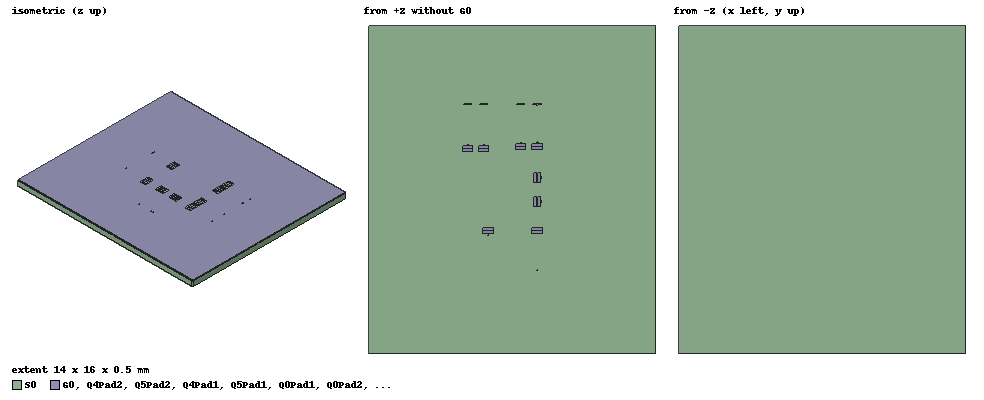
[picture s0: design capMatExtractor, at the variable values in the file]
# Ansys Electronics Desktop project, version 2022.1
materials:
  vacuum: permittivity=1
  copper: permeability=0.999991 conductivity=58000000
  silicon: permittivity=11.9
  perfect conductor: conductivity=1e+30

design capMatExtractor (Q3D Extractor, model units mm)
options: SParamCalcMethod=EqTransLine Calculate_Lossy_Dielectrics
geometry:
  S0 [silicon] = polyline(z=0um, xy in um: (-7000, -8000) (-7000, 8000) (7000, 8000) (7000, -8000) (-7000, -8000), closed, covered)
  S0.sweep_along_vector((0mm, 0mm, 500um))
  G0 [perfect conductor] = polyline(z=500um, xy in um: (-7000, -8000) (-7000, 8000) (7000, 8000) (7000, -8000) (-7000, -8000), closed, covered)
  Q0Pad1 [perfect conductor] = polyline(z=500um, xy in um: (-2450, 2015) (-2450, 2155) (-1950, 2155) (-1950, 2015) (-2198, 2015) (-2198, 2004) (-2202, 2004) (-2202, 2015) (-2450, 2015), closed, covered)
  Q0Pad1TrenchComponent = polyline(z=499.9um, xy in um: (-2450, 2015) (-2450, 2155) (-1950, 2155) (-1950, 2015) (-2198, 2015) (-2198, 2004) (-2202, 2004) (-2202, 2015) (-2450, 2015), closed, covered)
  Q0Pad1TrenchPeriphery0 = polyline(z=499.9um, xy in um: (-2550, 1915) (-2550, 2255) (-1850, 2255) (-1850, 1915) (-2550, 1915), closed, covered)
  Q0Pad1TrenchPeriphery1 = polyline(z=499.9um, xy in um: (-2202, 2004) (-2202, 2015) (-2198, 2015) (-2198, 2004) (-2202, 2004), closed, covered)
  Q0Pad1TrenchPeriphery0.sweep_along_vector((0mm, 0mm, 0.1um))
  S0.subtract(Q0Pad1TrenchPeriphery0)
  Q0Pad1TrenchPeriphery1.sweep_along_vector((0mm, 0mm, 0.1um))
  S0.subtract(Q0Pad1TrenchPeriphery1)
  Q0Pad1periphery0 = polyline(z=500um, xy in um: (-2550, 1915) (-2550, 2255) (-1850, 2255) (-1850, 1915) (-2550, 1915), closed, covered)
  G0.subtract(Q0Pad1periphery0)
  Q0Pad1periphery1 = polyline(z=500um, xy in um: (-2202, 2004) (-2202, 2015) (-2198, 2015) (-2198, 2004) (-2202, 2004), closed, covered)
  G0.subtract(Q0Pad1periphery1)
  Q0Pad2 [perfect conductor] = polyline(z=500um, xy in um: (-1950, 1985) (-1950, 1845) (-2450, 1845) (-2450, 1985) (-2202, 1985) (-2202, 1996) (-2198, 1996) (-2198, 1985) (-1950, 1985), closed, covered)
  Q0Pad2TrenchComponent = polyline(z=499.9um, xy in um: (-1950, 1985) (-1950, 1845) (-2450, 1845) (-2450, 1985) (-2202, 1985) (-2202, 1996) (-2198, 1996) (-2198, 1985) (-1950, 1985), closed, covered)
  Q0Pad2TrenchPeriphery0 = polyline(z=499.9um, xy in um: (-1850, 2085) (-1850, 1745) (-2550, 1745) (-2550, 2085) (-1850, 2085), closed, covered)
  Q0Pad2TrenchPeriphery1 = polyline(z=499.9um, xy in um: (-2198, 1996) (-2198, 1985) (-2202, 1985) (-2202, 1996) (-2198, 1996), closed, covered)
  Q0Pad2TrenchPeriphery0.sweep_along_vector((0mm, 0mm, 0.1um))
  S0.subtract(Q0Pad2TrenchPeriphery0)
  Q0Pad2TrenchPeriphery1.sweep_along_vector((0mm, 0mm, 0.1um))
  S0.subtract(Q0Pad2TrenchPeriphery1)
  Q0Pad2periphery0 = polyline(z=500um, xy in um: (-1850, 2085) (-1850, 1745) (-2550, 1745) (-2550, 2085) (-1850, 2085), closed, covered)
  G0.subtract(Q0Pad2periphery0)
  Q0Pad2periphery1 = polyline(z=500um, xy in um: (-2198, 1996) (-2198, 1985) (-2202, 1985) (-2202, 1996) (-2198, 1996), closed, covered)
  G0.subtract(Q0Pad2periphery1)
  Q1Pad1 [perfect conductor] = polyline(z=500um, xy in um: (-1650, 2015) (-1650, 2155) (-1150, 2155) (-1150, 2015) (-1398, 2015) (-1398, 2004) (-1402, 2004) (-1402, 2015) (-1650, 2015), closed, covered)
  Q1Pad1TrenchComponent = polyline(z=499.9um, xy in um: (-1650, 2015) (-1650, 2155) (-1150, 2155) (-1150, 2015) (-1398, 2015) (-1398, 2004) (-1402, 2004) (-1402, 2015) (-1650, 2015), closed, covered)
  Q1Pad1TrenchPeriphery0 = polyline(z=499.9um, xy in um: (-1750, 1915) (-1750, 2255) (-1050, 2255) (-1050, 1915) (-1750, 1915), closed, covered)
  Q1Pad1TrenchPeriphery1 = polyline(z=499.9um, xy in um: (-1402, 2004) (-1402, 2015) (-1398, 2015) (-1398, 2004) (-1402, 2004), closed, covered)
  Q1Pad1TrenchPeriphery0.sweep_along_vector((0mm, 0mm, 0.1um))
  S0.subtract(Q1Pad1TrenchPeriphery0)
  Q1Pad1TrenchPeriphery1.sweep_along_vector((0mm, 0mm, 0.1um))
  S0.subtract(Q1Pad1TrenchPeriphery1)
  Q1Pad1periphery0 = polyline(z=500um, xy in um: (-1750, 1915) (-1750, 2255) (-1050, 2255) (-1050, 1915) (-1750, 1915), closed, covered)
  G0.subtract(Q1Pad1periphery0)
  Q1Pad1periphery1 = polyline(z=500um, xy in um: (-1402, 2004) (-1402, 2015) (-1398, 2015) (-1398, 2004) (-1402, 2004), closed, covered)
  G0.subtract(Q1Pad1periphery1)
  Q1Pad2 [perfect conductor] = polyline(z=500um, xy in um: (-1150, 1985) (-1150, 1845) (-1650, 1845) (-1650, 1985) (-1402, 1985) (-1402, 1996) (-1398, 1996) (-1398, 1985) (-1150, 1985), closed, covered)
  Q1Pad2TrenchComponent = polyline(z=499.9um, xy in um: (-1150, 1985) (-1150, 1845) (-1650, 1845) (-1650, 1985) (-1402, 1985) (-1402, 1996) (-1398, 1996) (-1398, 1985) (-1150, 1985), closed, covered)
  Q1Pad2TrenchPeriphery0 = polyline(z=499.9um, xy in um: (-1050, 2085) (-1050, 1745) (-1750, 1745) (-1750, 2085) (-1050, 2085), closed, covered)
  Q1Pad2TrenchPeriphery1 = polyline(z=499.9um, xy in um: (-1398, 1996) (-1398, 1985) (-1402, 1985) (-1402, 1996) (-1398, 1996), closed, covered)
  Q1Pad2TrenchPeriphery0.sweep_along_vector((0mm, 0mm, 0.1um))
  S0.subtract(Q1Pad2TrenchPeriphery0)
  Q1Pad2TrenchPeriphery1.sweep_along_vector((0mm, 0mm, 0.1um))
  S0.subtract(Q1Pad2TrenchPeriphery1)
  Q1Pad2periphery0 = polyline(z=500um, xy in um: (-1050, 2085) (-1050, 1745) (-1750, 1745) (-1750, 2085) (-1050, 2085), closed, covered)
  G0.subtract(Q1Pad2periphery0)
  Q1Pad2periphery1 = polyline(z=500um, xy in um: (-1398, 1996) (-1398, 1985) (-1402, 1985) (-1402, 1996) (-1398, 1996), closed, covered)
  G0.subtract(Q1Pad2periphery1)
  Q2Pad1 [perfect conductor] = polyline(z=500um, xy in um: (150, 2115) (150, 2255) (650, 2255) (650, 2115) (402, 2115) (402, 2104) (398, 2104) (398, 2115) (150, 2115), closed, covered)
  Q2Pad1TrenchComponent = polyline(z=499.9um, xy in um: (150, 2115) (150, 2255) (650, 2255) (650, 2115) (402, 2115) (402, 2104) (398, 2104) (398, 2115) (150, 2115), closed, covered)
  Q2Pad1TrenchPeriphery0 = polyline(z=499.9um, xy in um: (50, 2015) (50, 2355) (750, 2355) (750, 2015) (50, 2015), closed, covered)
  Q2Pad1TrenchPeriphery1 = polyline(z=499.9um, xy in um: (398, 2104) (398, 2115) (402, 2115) (402, 2104) (398, 2104), closed, covered)
  Q2Pad1TrenchPeriphery0.sweep_along_vector((0mm, 0mm, 0.1um))
  S0.subtract(Q2Pad1TrenchPeriphery0)
  Q2Pad1TrenchPeriphery1.sweep_along_vector((0mm, 0mm, 0.1um))
  S0.subtract(Q2Pad1TrenchPeriphery1)
  Q2Pad1periphery0 = polyline(z=500um, xy in um: (50, 2015) (50, 2355) (750, 2355) (750, 2015) (50, 2015), closed, covered)
  G0.subtract(Q2Pad1periphery0)
  Q2Pad1periphery1 = polyline(z=500um, xy in um: (398, 2104) (398, 2115) (402, 2115) (402, 2104) (398, 2104), closed, covered)
  G0.subtract(Q2Pad1periphery1)
  Q2Pad2 [perfect conductor] = polyline(z=500um, xy in um: (650, 2085) (650, 1945) (150, 1945) (150, 2085) (398, 2085) (398, 2096) (402, 2096) (402, 2085) (650, 2085), closed, covered)
  Q2Pad2TrenchComponent = polyline(z=499.9um, xy in um: (650, 2085) (650, 1945) (150, 1945) (150, 2085) (398, 2085) (398, 2096) (402, 2096) (402, 2085) (650, 2085), closed, covered)
  Q2Pad2TrenchPeriphery0 = polyline(z=499.9um, xy in um: (750, 2185) (750, 1845) (50, 1845) (50, 2185) (750, 2185), closed, covered)
  Q2Pad2TrenchPeriphery1 = polyline(z=499.9um, xy in um: (402, 2096) (402, 2085) (398, 2085) (398, 2096) (402, 2096), closed, covered)
  Q2Pad2TrenchPeriphery0.sweep_along_vector((0mm, 0mm, 0.1um))
  S0.subtract(Q2Pad2TrenchPeriphery0)
  Q2Pad2TrenchPeriphery1.sweep_along_vector((0mm, 0mm, 0.1um))
  S0.subtract(Q2Pad2TrenchPeriphery1)
  Q2Pad2periphery0 = polyline(z=500um, xy in um: (750, 2185) (750, 1845) (50, 1845) (50, 2185) (750, 2185), closed, covered)
  G0.subtract(Q2Pad2periphery0)
  Q2Pad2periphery1 = polyline(z=500um, xy in um: (402, 2096) (402, 2085) (398, 2085) (398, 2096) (402, 2096), closed, covered)
  G0.subtract(Q2Pad2periphery1)
  Q3Pad1 [perfect conductor] = polyline(z=500um, xy in um: (950, 2115) (950, 2255) (1450, 2255) (1450, 2115) (1202, 2115) (1202, 2104) (1198, 2104) (1198, 2115) (950, 2115), closed, covered)
  Q3Pad1TrenchComponent = polyline(z=499.9um, xy in um: (950, 2115) (950, 2255) (1450, 2255) (1450, 2115) (1202, 2115) (1202, 2104) (1198, 2104) (1198, 2115) (950, 2115), closed, covered)
  Q3Pad1TrenchPeriphery0 = polyline(z=499.9um, xy in um: (850, 2015) (850, 2355) (1550, 2355) (1550, 2015) (850, 2015), closed, covered)
  Q3Pad1TrenchPeriphery1 = polyline(z=499.9um, xy in um: (1198, 2104) (1198, 2115) (1202, 2115) (1202, 2104) (1198, 2104), closed, covered)
  Q3Pad1TrenchPeriphery0.sweep_along_vector((0mm, 0mm, 0.1um))
  S0.subtract(Q3Pad1TrenchPeriphery0)
  Q3Pad1TrenchPeriphery1.sweep_along_vector((0mm, 0mm, 0.1um))
  S0.subtract(Q3Pad1TrenchPeriphery1)
  Q3Pad1periphery0 = polyline(z=500um, xy in um: (850, 2015) (850, 2355) (1550, 2355) (1550, 2015) (850, 2015), closed, covered)
  G0.subtract(Q3Pad1periphery0)
  Q3Pad1periphery1 = polyline(z=500um, xy in um: (1198, 2104) (1198, 2115) (1202, 2115) (1202, 2104) (1198, 2104), closed, covered)
  G0.subtract(Q3Pad1periphery1)
  Q3Pad2 [perfect conductor] = polyline(z=500um, xy in um: (1450, 2085) (1450, 1945) (950, 1945) (950, 2085) (1198, 2085) (1198, 2096) (1202, 2096) (1202, 2085) (1450, 2085), closed, covered)
  Q3Pad2TrenchComponent = polyline(z=499.9um, xy in um: (1450, 2085) (1450, 1945) (950, 1945) (950, 2085) (1198, 2085) (1198, 2096) (1202, 2096) (1202, 2085) (1450, 2085), closed, covered)
  Q3Pad2TrenchPeriphery0 = polyline(z=499.9um, xy in um: (1550, 2185) (1550, 1845) (850, 1845) (850, 2185) (1550, 2185), closed, covered)
  Q3Pad2TrenchPeriphery1 = polyline(z=499.9um, xy in um: (1202, 2096) (1202, 2085) (1198, 2085) (1198, 2096) (1202, 2096), closed, covered)
  Q3Pad2TrenchPeriphery0.sweep_along_vector((0mm, 0mm, 0.1um))
  S0.subtract(Q3Pad2TrenchPeriphery0)
  Q3Pad2TrenchPeriphery1.sweep_along_vector((0mm, 0mm, 0.1um))
  S0.subtract(Q3Pad2TrenchPeriphery1)
  Q3Pad2periphery0 = polyline(z=500um, xy in um: (1550, 2185) (1550, 1845) (850, 1845) (850, 2185) (1550, 2185), closed, covered)
  G0.subtract(Q3Pad2periphery0)
  Q3Pad2periphery1 = polyline(z=500um, xy in um: (1202, 2096) (1202, 2085) (1198, 2085) (1198, 2096) (1202, 2096), closed, covered)
  G0.subtract(Q3Pad2periphery1)
  Q4Pad1 [perfect conductor] = polyline(z=500um, xy in um: (1184.8009, 350.01202) (1044.801, 350.12351) (1045.1991, 850.12335) (1185.1991, 850.01187) (1185.0016, 602.01194) (1196.0016, 602.00318) (1195.9984, 598.00319) (1184.9984, 598.01195) (1184.8009, 350.01202), closed, covered)
  Q4Pad1TrenchComponent = polyline(z=499.9um, xy in um: (1184.8009, 350.01202) (1044.801, 350.12351) (1045.1991, 850.12335) (1185.1991, 850.01187) (1185.0016, 602.01194) (1196.0016, 602.00318) (1195.9984, 598.00319) (1184.9984, 598.01195) (1184.8009, 350.01202), closed, covered)
  Q4Pad1TrenchPeriphery0 = polyline(z=499.9um, xy in um: (1284.7213, 249.93242) (944.72137, 250.20317) (945.2788, 950.20295) (1285.2787, 949.9322) (1284.7213, 249.93242), closed, covered)
  Q4Pad1TrenchPeriphery1 = polyline(z=499.9um, xy in um: (1195.9984, 598.00319) (1184.9984, 598.01195) (1185.0016, 602.01194) (1196.0016, 602.00318) (1195.9984, 598.00319), closed, covered)
  Q4Pad1TrenchPeriphery0.sweep_along_vector((0mm, 0mm, 0.1um))
  S0.subtract(Q4Pad1TrenchPeriphery0)
  Q4Pad1TrenchPeriphery1.sweep_along_vector((0mm, 0mm, 0.1um))
  S0.subtract(Q4Pad1TrenchPeriphery1)
  Q4Pad1periphery0 = polyline(z=500um, xy in um: (1284.7213, 249.93242) (944.72137, 250.20317) (945.2788, 950.20295) (1285.2787, 949.9322) (1284.7213, 249.93242), closed, covered)
  G0.subtract(Q4Pad1periphery0)
  Q4Pad1periphery1 = polyline(z=500um, xy in um: (1195.9984, 598.00319) (1184.9984, 598.01195) (1185.0016, 602.01194) (1196.0016, 602.00318) (1195.9984, 598.00319), closed, covered)
  G0.subtract(Q4Pad1periphery1)
  Q4Pad2 [perfect conductor] = polyline(z=500um, xy in um: (1215.1991, 849.98798) (1355.199, 849.87649) (1354.8009, 349.87665) (1214.8009, 349.98813) (1214.9984, 597.98806) (1203.9984, 597.99682) (1204.0016, 601.99681) (1215.0016, 601.98805) (1215.1991, 849.98798), closed, covered)
  Q4Pad2TrenchComponent = polyline(z=499.9um, xy in um: (1215.1991, 849.98798) (1355.199, 849.87649) (1354.8009, 349.87665) (1214.8009, 349.98813) (1214.9984, 597.98806) (1203.9984, 597.99682) (1204.0016, 601.99681) (1215.0016, 601.98805) (1215.1991, 849.98798), closed, covered)
  Q4Pad2TrenchPeriphery0 = polyline(z=499.9um, xy in um: (1115.2787, 950.06758) (1455.2786, 949.79683) (1454.7212, 249.79705) (1114.7213, 250.0678) (1115.2787, 950.06758), closed, covered)
  Q4Pad2TrenchPeriphery1 = polyline(z=499.9um, xy in um: (1204.0016, 601.99681) (1215.0016, 601.98805) (1214.9984, 597.98806) (1203.9984, 597.99682) (1204.0016, 601.99681), closed, covered)
  Q4Pad2TrenchPeriphery0.sweep_along_vector((0mm, 0mm, 0.1um))
  S0.subtract(Q4Pad2TrenchPeriphery0)
  Q4Pad2TrenchPeriphery1.sweep_along_vector((0mm, 0mm, 0.1um))
  S0.subtract(Q4Pad2TrenchPeriphery1)
  Q4Pad2periphery0 = polyline(z=500um, xy in um: (1115.2787, 950.06758) (1455.2786, 949.79683) (1454.7212, 249.79705) (1114.7213, 250.0678) (1115.2787, 950.06758), closed, covered)
  G0.subtract(Q4Pad2periphery0)
  Q4Pad2periphery1 = polyline(z=500um, xy in um: (1204.0016, 601.99681) (1215.0016, 601.98805) (1214.9984, 597.98806) (1203.9984, 597.99682) (1204.0016, 601.99681), closed, covered)
  G0.subtract(Q4Pad2periphery1)
  Q5Pad1 [perfect conductor] = polyline(z=500um, xy in um: (1184.8009, -849.98798) (1044.801, -849.87649) (1045.1991, -349.87665) (1185.1991, -349.98813) (1185.0016, -597.98806) (1196.0016, -597.99682) (1195.9984, -601.99681) (1184.9984, -601.98805) (1184.8009, -849.98798), closed, covered)
  Q5Pad1TrenchComponent = polyline(z=499.9um, xy in um: (1184.8009, -849.98798) (1044.801, -849.87649) (1045.1991, -349.87665) (1185.1991, -349.98813) (1185.0016, -597.98806) (1196.0016, -597.99682) (1195.9984, -601.99681) (1184.9984, -601.98805) (1184.8009, -849.98798), closed, covered)
  Q5Pad1TrenchPeriphery0 = polyline(z=499.9um, xy in um: (1284.7213, -950.06758) (944.72137, -949.79683) (945.2788, -249.79705) (1285.2787, -250.0678) (1284.7213, -950.06758), closed, covered)
  Q5Pad1TrenchPeriphery1 = polyline(z=499.9um, xy in um: (1195.9984, -601.99681) (1184.9984, -601.98805) (1185.0016, -597.98806) (1196.0016, -597.99682) (1195.9984, -601.99681), closed, covered)
  Q5Pad1TrenchPeriphery0.sweep_along_vector((0mm, 0mm, 0.1um))
  S0.subtract(Q5Pad1TrenchPeriphery0)
  Q5Pad1TrenchPeriphery1.sweep_along_vector((0mm, 0mm, 0.1um))
  S0.subtract(Q5Pad1TrenchPeriphery1)
  Q5Pad1periphery0 = polyline(z=500um, xy in um: (1284.7213, -950.06758) (944.72137, -949.79683) (945.2788, -249.79705) (1285.2787, -250.0678) (1284.7213, -950.06758), closed, covered)
  G0.subtract(Q5Pad1periphery0)
  Q5Pad1periphery1 = polyline(z=500um, xy in um: (1195.9984, -601.99681) (1184.9984, -601.98805) (1185.0016, -597.98806) (1196.0016, -597.99682) (1195.9984, -601.99681), closed, covered)
  G0.subtract(Q5Pad1periphery1)
  Q5Pad2 [perfect conductor] = polyline(z=500um, xy in um: (1215.1991, -350.01202) (1355.199, -350.12351) (1354.8009, -850.12335) (1214.8009, -850.01187) (1214.9984, -602.01194) (1203.9984, -602.00318) (1204.0016, -598.00319) (1215.0016, -598.01195) (1215.1991, -350.01202), closed, covered)
  Q5Pad2TrenchComponent = polyline(z=499.9um, xy in um: (1215.1991, -350.01202) (1355.199, -350.12351) (1354.8009, -850.12335) (1214.8009, -850.01187) (1214.9984, -602.01194) (1203.9984, -602.00318) (1204.0016, -598.00319) (1215.0016, -598.01195) (1215.1991, -350.01202), closed, covered)
  Q5Pad2TrenchPeriphery0 = polyline(z=499.9um, xy in um: (1115.2787, -249.93242) (1455.2786, -250.20317) (1454.7212, -950.20295) (1114.7213, -949.9322) (1115.2787, -249.93242), closed, covered)
  Q5Pad2TrenchPeriphery1 = polyline(z=499.9um, xy in um: (1204.0016, -598.00319) (1215.0016, -598.01195) (1214.9984, -602.01194) (1203.9984, -602.00318) (1204.0016, -598.00319), closed, covered)
  Q5Pad2TrenchPeriphery0.sweep_along_vector((0mm, 0mm, 0.1um))
  S0.subtract(Q5Pad2TrenchPeriphery0)
  Q5Pad2TrenchPeriphery1.sweep_along_vector((0mm, 0mm, 0.1um))
  S0.subtract(Q5Pad2TrenchPeriphery1)
  Q5Pad2periphery0 = polyline(z=500um, xy in um: (1115.2787, -249.93242) (1455.2786, -250.20317) (1454.7212, -950.20295) (1114.7213, -949.9322) (1115.2787, -249.93242), closed, covered)
  G0.subtract(Q5Pad2periphery0)
  Q5Pad2periphery1 = polyline(z=500um, xy in um: (1204.0016, -598.00319) (1215.0016, -598.01195) (1214.9984, -602.01194) (1203.9984, -602.00318) (1204.0016, -598.00319), closed, covered)
  G0.subtract(Q5Pad2periphery1)
  Q6Pad1 [perfect conductor] = polyline(z=500um, xy in um: (950, -1985) (950, -1845) (1450, -1845) (1450, -1985) (1202, -1985) (1202, -1996) (1198, -1996) (1198, -1985) (950, -1985), closed, covered)
  Q6Pad1TrenchComponent = polyline(z=499.9um, xy in um: (950, -1985) (950, -1845) (1450, -1845) (1450, -1985) (1202, -1985) (1202, -1996) (1198, -1996) (1198, -1985) (950, -1985), closed, covered)
  Q6Pad1TrenchPeriphery0 = polyline(z=499.9um, xy in um: (850, -2085) (850, -1745) (1550, -1745) (1550, -2085) (850, -2085), closed, covered)
  Q6Pad1TrenchPeriphery1 = polyline(z=499.9um, xy in um: (1198, -1996) (1198, -1985) (1202, -1985) (1202, -1996) (1198, -1996), closed, covered)
  Q6Pad1TrenchPeriphery0.sweep_along_vector((0mm, 0mm, 0.1um))
  S0.subtract(Q6Pad1TrenchPeriphery0)
  Q6Pad1TrenchPeriphery1.sweep_along_vector((0mm, 0mm, 0.1um))
  S0.subtract(Q6Pad1TrenchPeriphery1)
  Q6Pad1periphery0 = polyline(z=500um, xy in um: (850, -2085) (850, -1745) (1550, -1745) (1550, -2085) (850, -2085), closed, covered)
  G0.subtract(Q6Pad1periphery0)
  Q6Pad1periphery1 = polyline(z=500um, xy in um: (1198, -1996) (1198, -1985) (1202, -1985) (1202, -1996) (1198, -1996), closed, covered)
  G0.subtract(Q6Pad1periphery1)
  Q6Pad2 [perfect conductor] = polyline(z=500um, xy in um: (1450, -2015) (1450, -2155) (950, -2155) (950, -2015) (1198, -2015) (1198, -2004) (1202, -2004) (1202, -2015) (1450, -2015), closed, covered)
  Q6Pad2TrenchComponent = polyline(z=499.9um, xy in um: (1450, -2015) (1450, -2155) (950, -2155) (950, -2015) (1198, -2015) (1198, -2004) (1202, -2004) (1202, -2015) (1450, -2015), closed, covered)
  Q6Pad2TrenchPeriphery0 = polyline(z=499.9um, xy in um: (1550, -1915) (1550, -2255) (850, -2255) (850, -1915) (1550, -1915), closed, covered)
  Q6Pad2TrenchPeriphery1 = polyline(z=499.9um, xy in um: (1202, -2004) (1202, -2015) (1198, -2015) (1198, -2004) (1202, -2004), closed, covered)
  Q6Pad2TrenchPeriphery0.sweep_along_vector((0mm, 0mm, 0.1um))
  S0.subtract(Q6Pad2TrenchPeriphery0)
  Q6Pad2TrenchPeriphery1.sweep_along_vector((0mm, 0mm, 0.1um))
  S0.subtract(Q6Pad2TrenchPeriphery1)
  Q6Pad2periphery0 = polyline(z=500um, xy in um: (1550, -1915) (1550, -2255) (850, -2255) (850, -1915) (1550, -1915), closed, covered)
  G0.subtract(Q6Pad2periphery0)
  Q6Pad2periphery1 = polyline(z=500um, xy in um: (1202, -2004) (1202, -2015) (1198, -2015) (1198, -2004) (1202, -2004), closed, covered)
  G0.subtract(Q6Pad2periphery1)
  Q7Pad1 [perfect conductor] = polyline(z=500um, xy in um: (-1450, -1985) (-1450, -1845) (-950, -1845) (-950, -1985) (-1198, -1985) (-1198, -1996) (-1202, -1996) (-1202, -1985) (-1450, -1985), closed, covered)
  Q7Pad1TrenchComponent = polyline(z=499.9um, xy in um: (-1450, -1985) (-1450, -1845) (-950, -1845) (-950, -1985) (-1198, -1985) (-1198, -1996) (-1202, -1996) (-1202, -1985) (-1450, -1985), closed, covered)
  Q7Pad1TrenchPeriphery0 = polyline(z=499.9um, xy in um: (-1550, -2085) (-1550, -1745) (-850, -1745) (-850, -2085) (-1550, -2085), closed, covered)
  Q7Pad1TrenchPeriphery1 = polyline(z=499.9um, xy in um: (-1202, -1996) (-1202, -1985) (-1198, -1985) (-1198, -1996) (-1202, -1996), closed, covered)
  Q7Pad1TrenchPeriphery0.sweep_along_vector((0mm, 0mm, 0.1um))
  S0.subtract(Q7Pad1TrenchPeriphery0)
  Q7Pad1TrenchPeriphery1.sweep_along_vector((0mm, 0mm, 0.1um))
  S0.subtract(Q7Pad1TrenchPeriphery1)
  Q7Pad1periphery0 = polyline(z=500um, xy in um: (-1550, -2085) (-1550, -1745) (-850, -1745) (-850, -2085) (-1550, -2085), closed, covered)
  G0.subtract(Q7Pad1periphery0)
  Q7Pad1periphery1 = polyline(z=500um, xy in um: (-1202, -1996) (-1202, -1985) (-1198, -1985) (-1198, -1996) (-1202, -1996), closed, covered)
  G0.subtract(Q7Pad1periphery1)
  Q7Pad2 [perfect conductor] = polyline(z=500um, xy in um: (-950, -2015) (-950, -2155) (-1450, -2155) (-1450, -2015) (-1202, -2015) (-1202, -2004) (-1198, -2004) (-1198, -2015) (-950, -2015), closed, covered)
  Q7Pad2TrenchComponent = polyline(z=499.9um, xy in um: (-950, -2015) (-950, -2155) (-1450, -2155) (-1450, -2015) (-1202, -2015) (-1202, -2004) (-1198, -2004) (-1198, -2015) (-950, -2015), closed, covered)
  Q7Pad2TrenchPeriphery0 = polyline(z=499.9um, xy in um: (-850, -1915) (-850, -2255) (-1550, -2255) (-1550, -1915) (-850, -1915), closed, covered)
  Q7Pad2TrenchPeriphery1 = polyline(z=499.9um, xy in um: (-1198, -2004) (-1198, -2015) (-1202, -2015) (-1202, -2004) (-1198, -2004), closed, covered)
  Q7Pad2TrenchPeriphery0.sweep_along_vector((0mm, 0mm, 0.1um))
  S0.subtract(Q7Pad2TrenchPeriphery0)
  Q7Pad2TrenchPeriphery1.sweep_along_vector((0mm, 0mm, 0.1um))
  S0.subtract(Q7Pad2TrenchPeriphery1)
  Q7Pad2periphery0 = polyline(z=500um, xy in um: (-850, -1915) (-850, -2255) (-1550, -2255) (-1550, -1915) (-850, -1915), closed, covered)
  G0.subtract(Q7Pad2periphery0)
  Q7Pad2periphery1 = polyline(z=500um, xy in um: (-1198, -2004) (-1198, -2015) (-1202, -2015) (-1202, -2004) (-1198, -2004), closed, covered)
  G0.subtract(Q7Pad2periphery1)
  R0Pad1 [perfect conductor] = polyline(z=500um, xy in um: (-2400, 4170) (-2400, 4180) (-2000, 4180) (-2000, 4170) (-2195, 4170) (-2195, 4120) (-2205, 4120) (-2205, 4170) (-2400, 4170), closed, covered)
  R0Pad1TrenchComponent = polyline(z=499.9um, xy in um: (-2400, 4170) (-2400, 4180) (-2000, 4180) (-2000, 4170) (-2195, 4170) (-2195, 4120) (-2205, 4120) (-2205, 4170) (-2400, 4170), closed, covered)
  R0Pad1TrenchPeriphery0 = polyline(z=499.9um, xy in um: (-2424, 4164) (-2424, 4186) (-1976, 4186) (-1976, 4164) (-2424, 4164), closed, covered)
  R0Pad1TrenchPeriphery1 = polyline(z=499.9um, xy in um: (-2211, 4114) (-2211, 4176) (-2189, 4176) (-2189, 4114) (-2211, 4114), closed, covered)
  R0Pad1TrenchPeriphery0.sweep_along_vector((0mm, 0mm, 0.1um))
  S0.subtract(R0Pad1TrenchPeriphery0)
  R0Pad1TrenchPeriphery1.sweep_along_vector((0mm, 0mm, 0.1um))
  S0.subtract(R0Pad1TrenchPeriphery1)
  R0Pad1periphery0 = polyline(z=500um, xy in um: (-2424, 4164) (-2424, 4186) (-1976, 4186) (-1976, 4164) (-2424, 4164), closed, covered)
  G0.subtract(R0Pad1periphery0)
  R0Pad1periphery1 = polyline(z=500um, xy in um: (-2211, 4114) (-2211, 4176) (-2189, 4176) (-2189, 4114) (-2211, 4114), closed, covered)
  G0.subtract(R0Pad1periphery1)
  R0Pad2 [perfect conductor] = polyline(z=500um, xy in um: (-2150, 2190) (-2150, 2160) (-2250, 2160) (-2250, 2190) (-2205, 2190) (-2205, 2240) (-2195, 2240) (-2195, 2190) (-2150, 2190), closed, covered)
  R0Pad2TrenchComponent = polyline(z=499.9um, xy in um: (-2150, 2190) (-2150, 2160) (-2250, 2160) (-2250, 2190) (-2205, 2190) (-2205, 2240) (-2195, 2240) (-2195, 2190) (-2150, 2190), closed, covered)
  R0Pad2TrenchPeriphery0 = polyline(z=499.9um, xy in um: (-2120, 2220) (-2120, 2130) (-2280, 2130) (-2280, 2220) (-2120, 2220), closed, covered)
  R0Pad2TrenchPeriphery1 = polyline(z=499.9um, xy in um: (-2189, 2246) (-2189, 2184) (-2211, 2184) (-2211, 2246) (-2189, 2246), closed, covered)
  R0Pad2TrenchPeriphery0.sweep_along_vector((0mm, 0mm, 0.1um))
  S0.subtract(R0Pad2TrenchPeriphery0)
  R0Pad2TrenchPeriphery1.sweep_along_vector((0mm, 0mm, 0.1um))
  S0.subtract(R0Pad2TrenchPeriphery1)
  R0Pad2periphery0 = polyline(z=500um, xy in um: (-2120, 2220) (-2120, 2130) (-2280, 2130) (-2280, 2220) (-2120, 2220), closed, covered)
  G0.subtract(R0Pad2periphery0)
  R0Pad2periphery1 = polyline(z=500um, xy in um: (-2189, 2246) (-2189, 2184) (-2211, 2184) (-2211, 2246) (-2189, 2246), closed, covered)
  G0.subtract(R0Pad2periphery1)
  R1Pad1 [perfect conductor] = polyline(z=500um, xy in um: (-1600, 4170) (-1600, 4180) (-1200, 4180) (-1200, 4170) (-1395, 4170) (-1395, 4120) (-1405, 4120) (-1405, 4170) (-1600, 4170), closed, covered)
  R1Pad1TrenchComponent = polyline(z=499.9um, xy in um: (-1600, 4170) (-1600, 4180) (-1200, 4180) (-1200, 4170) (-1395, 4170) (-1395, 4120) (-1405, 4120) (-1405, 4170) (-1600, 4170), closed, covered)
  R1Pad1TrenchPeriphery0 = polyline(z=499.9um, xy in um: (-1624, 4164) (-1624, 4186) (-1176, 4186) (-1176, 4164) (-1624, 4164), closed, covered)
  R1Pad1TrenchPeriphery1 = polyline(z=499.9um, xy in um: (-1411, 4114) (-1411, 4176) (-1389, 4176) (-1389, 4114) (-1411, 4114), closed, covered)
  R1Pad1TrenchPeriphery0.sweep_along_vector((0mm, 0mm, 0.1um))
  S0.subtract(R1Pad1TrenchPeriphery0)
  R1Pad1TrenchPeriphery1.sweep_along_vector((0mm, 0mm, 0.1um))
  S0.subtract(R1Pad1TrenchPeriphery1)
  R1Pad1periphery0 = polyline(z=500um, xy in um: (-1624, 4164) (-1624, 4186) (-1176, 4186) (-1176, 4164) (-1624, 4164), closed, covered)
  G0.subtract(R1Pad1periphery0)
  R1Pad1periphery1 = polyline(z=500um, xy in um: (-1411, 4114) (-1411, 4176) (-1389, 4176) (-1389, 4114) (-1411, 4114), closed, covered)
  G0.subtract(R1Pad1periphery1)
  R1Pad2 [perfect conductor] = polyline(z=500um, xy in um: (-1350, 2190) (-1350, 2160) (-1450, 2160) (-1450, 2190) (-1405, 2190) (-1405, 2240) (-1395, 2240) (-1395, 2190) (-1350, 2190), closed, covered)
  R1Pad2TrenchComponent = polyline(z=499.9um, xy in um: (-1350, 2190) (-1350, 2160) (-1450, 2160) (-1450, 2190) (-1405, 2190) (-1405, 2240) (-1395, 2240) (-1395, 2190) (-1350, 2190), closed, covered)
  R1Pad2TrenchPeriphery0 = polyline(z=499.9um, xy in um: (-1320, 2220) (-1320, 2130) (-1480, 2130) (-1480, 2220) (-1320, 2220), closed, covered)
  R1Pad2TrenchPeriphery1 = polyline(z=499.9um, xy in um: (-1389, 2246) (-1389, 2184) (-1411, 2184) (-1411, 2246) (-1389, 2246), closed, covered)
  R1Pad2TrenchPeriphery0.sweep_along_vector((0mm, 0mm, 0.1um))
  S0.subtract(R1Pad2TrenchPeriphery0)
  R1Pad2TrenchPeriphery1.sweep_along_vector((0mm, 0mm, 0.1um))
  S0.subtract(R1Pad2TrenchPeriphery1)
  R1Pad2periphery0 = polyline(z=500um, xy in um: (-1320, 2220) (-1320, 2130) (-1480, 2130) (-1480, 2220) (-1320, 2220), closed, covered)
  G0.subtract(R1Pad2periphery0)
  R1Pad2periphery1 = polyline(z=500um, xy in um: (-1389, 2246) (-1389, 2184) (-1411, 2184) (-1411, 2246) (-1389, 2246), closed, covered)
  G0.subtract(R1Pad2periphery1)
  R2Pad1 [perfect conductor] = polyline(z=500um, xy in um: (200, 4170) (200, 4180) (600, 4180) (600, 4170) (405, 4170) (405, 4120) (395, 4120) (395, 4170) (200, 4170), closed, covered)
  R2Pad1TrenchComponent = polyline(z=499.9um, xy in um: (200, 4170) (200, 4180) (600, 4180) (600, 4170) (405, 4170) (405, 4120) (395, 4120) (395, 4170) (200, 4170), closed, covered)
  R2Pad1TrenchPeriphery0 = polyline(z=499.9um, xy in um: (176, 4164) (176, 4186) (624, 4186) (624, 4164) (176, 4164), closed, covered)
  R2Pad1TrenchPeriphery1 = polyline(z=499.9um, xy in um: (389, 4114) (389, 4176) (411, 4176) (411, 4114) (389, 4114), closed, covered)
  R2Pad1TrenchPeriphery0.sweep_along_vector((0mm, 0mm, 0.1um))
  S0.subtract(R2Pad1TrenchPeriphery0)
  R2Pad1TrenchPeriphery1.sweep_along_vector((0mm, 0mm, 0.1um))
  S0.subtract(R2Pad1TrenchPeriphery1)
  R2Pad1periphery0 = polyline(z=500um, xy in um: (176, 4164) (176, 4186) (624, 4186) (624, 4164) (176, 4164), closed, covered)
  G0.subtract(R2Pad1periphery0)
  R2Pad1periphery1 = polyline(z=500um, xy in um: (389, 4114) (389, 4176) (411, 4176) (411, 4114) (389, 4114), closed, covered)
  G0.subtract(R2Pad1periphery1)
  R2Pad2 [perfect conductor] = polyline(z=500um, xy in um: (450, 2290) (450, 2260) (350, 2260) (350, 2290) (395, 2290) (395, 2340) (405, 2340) (405, 2290) (450, 2290), closed, covered)
  R2Pad2TrenchComponent = polyline(z=499.9um, xy in um: (450, 2290) (450, 2260) (350, 2260) (350, 2290) (395, 2290) (395, 2340) (405, 2340) (405, 2290) (450, 2290), closed, covered)
  R2Pad2TrenchPeriphery0 = polyline(z=499.9um, xy in um: (480, 2320) (480, 2230) (320, 2230) (320, 2320) (480, 2320), closed, covered)
  R2Pad2TrenchPeriphery1 = polyline(z=499.9um, xy in um: (411, 2346) (411, 2284) (389, 2284) (389, 2346) (411, 2346), closed, covered)
  R2Pad2TrenchPeriphery0.sweep_along_vector((0mm, 0mm, 0.1um))
  S0.subtract(R2Pad2TrenchPeriphery0)
  R2Pad2TrenchPeriphery1.sweep_along_vector((0mm, 0mm, 0.1um))
  S0.subtract(R2Pad2TrenchPeriphery1)
  R2Pad2periphery0 = polyline(z=500um, xy in um: (480, 2320) (480, 2230) (320, 2230) (320, 2320) (480, 2320), closed, covered)
  G0.subtract(R2Pad2periphery0)
  R2Pad2periphery1 = polyline(z=500um, xy in um: (411, 2346) (411, 2284) (389, 2284) (389, 2346) (411, 2346), closed, covered)
  G0.subtract(R2Pad2periphery1)
  R3Pad1 [perfect conductor] = polyline(z=500um, xy in um: (1000, 4170) (1000, 4180) (1400, 4180) (1400, 4170) (1205, 4170) (1205, 4120) (1195, 4120) (1195, 4170) (1000, 4170), closed, covered)
  R3Pad1TrenchComponent = polyline(z=499.9um, xy in um: (1000, 4170) (1000, 4180) (1400, 4180) (1400, 4170) (1205, 4170) (1205, 4120) (1195, 4120) (1195, 4170) (1000, 4170), closed, covered)
  R3Pad1TrenchPeriphery0 = polyline(z=499.9um, xy in um: (976, 4164) (976, 4186) (1424, 4186) (1424, 4164) (976, 4164), closed, covered)
  R3Pad1TrenchPeriphery1 = polyline(z=499.9um, xy in um: (1189, 4114) (1189, 4176) (1211, 4176) (1211, 4114) (1189, 4114), closed, covered)
  R3Pad1TrenchPeriphery0.sweep_along_vector((0mm, 0mm, 0.1um))
  S0.subtract(R3Pad1TrenchPeriphery0)
  R3Pad1TrenchPeriphery1.sweep_along_vector((0mm, 0mm, 0.1um))
  S0.subtract(R3Pad1TrenchPeriphery1)
  R3Pad1periphery0 = polyline(z=500um, xy in um: (976, 4164) (976, 4186) (1424, 4186) (1424, 4164) (976, 4164), closed, covered)
  G0.subtract(R3Pad1periphery0)
  R3Pad1periphery1 = polyline(z=500um, xy in um: (1189, 4114) (1189, 4176) (1211, 4176) (1211, 4114) (1189, 4114), closed, covered)
  G0.subtract(R3Pad1periphery1)
  R3Pad2 [perfect conductor] = polyline(z=500um, xy in um: (1250, 2290) (1250, 2260) (1150, 2260) (1150, 2290) (1195, 2290) (1195, 2340) (1205, 2340) (1205, 2290) (1250, 2290), closed, covered)
  R3Pad2TrenchComponent = polyline(z=499.9um, xy in um: (1250, 2290) (1250, 2260) (1150, 2260) (1150, 2290) (1195, 2290) (1195, 2340) (1205, 2340) (1205, 2290) (1250, 2290), closed, covered)
  R3Pad2TrenchPeriphery0 = polyline(z=499.9um, xy in um: (1280, 2320) (1280, 2230) (1120, 2230) (1120, 2320) (1280, 2320), closed, covered)
  R3Pad2TrenchPeriphery1 = polyline(z=499.9um, xy in um: (1211, 2346) (1211, 2284) (1189, 2284) (1189, 2346) (1211, 2346), closed, covered)
  R3Pad2TrenchPeriphery0.sweep_along_vector((0mm, 0mm, 0.1um))
  S0.subtract(R3Pad2TrenchPeriphery0)
  R3Pad2TrenchPeriphery1.sweep_along_vector((0mm, 0mm, 0.1um))
  S0.subtract(R3Pad2TrenchPeriphery1)
  R3Pad2periphery0 = polyline(z=500um, xy in um: (1280, 2320) (1280, 2230) (1120, 2230) (1120, 2320) (1280, 2320), closed, covered)
  G0.subtract(R3Pad2periphery0)
  R3Pad2periphery1 = polyline(z=500um, xy in um: (1211, 2346) (1211, 2284) (1189, 2284) (1189, 2346) (1211, 2346), closed, covered)
  G0.subtract(R3Pad2periphery1)
  R4Pad1 [perfect conductor] = polyline(z=500um, xy in um: (3374.8404, 800.7883) (3384.8404, 800.79626) (3385.1589, 400.79639) (3375.159, 400.78843) (3375.0037, 595.78837) (3325.0037, 595.74855) (3324.9957, 605.74855) (3374.9957, 605.78836) (3374.8404, 800.7883), closed, covered)
  R4Pad1TrenchComponent = polyline(z=499.9um, xy in um: (3374.8404, 800.7883) (3384.8404, 800.79626) (3385.1589, 400.79639) (3375.159, 400.78843) (3375.0037, 595.78837) (3325.0037, 595.74855) (3324.9957, 605.74855) (3374.9957, 605.78836) (3374.8404, 800.7883), closed, covered)
  R4Pad1TrenchPeriphery0 = polyline(z=499.9um, xy in um: (3368.8213, 824.78351) (3390.8213, 824.80103) (3391.1781, 376.80118) (3369.1781, 376.78366) (3368.8213, 824.78351), closed, covered)
  R4Pad1TrenchPeriphery1 = polyline(z=499.9um, xy in um: (3318.9909, 611.74377) (3380.9909, 611.79314) (3381.0084, 589.79314) (3319.0085, 589.74377) (3318.9909, 611.74377), closed, covered)
  R4Pad1TrenchPeriphery0.sweep_along_vector((0mm, 0mm, 0.1um))
  S0.subtract(R4Pad1TrenchPeriphery0)
  R4Pad1TrenchPeriphery1.sweep_along_vector((0mm, 0mm, 0.1um))
  S0.subtract(R4Pad1TrenchPeriphery1)
  R4Pad1periphery0 = polyline(z=500um, xy in um: (3368.8213, 824.78351) (3390.8213, 824.80103) (3391.1781, 376.80118) (3369.1781, 376.78366) (3368.8213, 824.78351), closed, covered)
  G0.subtract(R4Pad1periphery0)
  R4Pad1periphery1 = polyline(z=500um, xy in um: (3318.9909, 611.74377) (3380.9909, 611.79314) (3381.0084, 589.79314) (3319.0085, 589.74377) (3318.9909, 611.74377), closed, covered)
  G0.subtract(R4Pad1periphery1)
  R4Pad2 [perfect conductor] = polyline(z=500um, xy in um: (1395.0401, 549.21165) (1365.0401, 549.18776) (1364.9605, 649.18773) (1394.9605, 649.21162) (1394.9963, 604.21163) (1444.9963, 604.25145) (1445.0043, 594.25145) (1395.0043, 594.21164) (1395.0401, 549.21165), closed, covered)
  R4Pad2TrenchComponent = polyline(z=499.9um, xy in um: (1395.0401, 549.21165) (1365.0401, 549.18776) (1364.9605, 649.18773) (1394.9605, 649.21162) (1394.9963, 604.21163) (1444.9963, 604.25145) (1445.0043, 594.25145) (1395.0043, 594.21164) (1395.0401, 549.21165), closed, covered)
  R4Pad2TrenchPeriphery0 = polyline(z=499.9um, xy in um: (1425.064, 519.23555) (1335.064, 519.16388) (1334.9366, 679.16383) (1424.9366, 679.2355) (1425.064, 519.23555), closed, covered)
  R4Pad2TrenchPeriphery1 = polyline(z=499.9um, xy in um: (1451.0091, 588.25623) (1389.0091, 588.20686) (1388.9916, 610.20686) (1450.9915, 610.25623) (1451.0091, 588.25623), closed, covered)
  R4Pad2TrenchPeriphery0.sweep_along_vector((0mm, 0mm, 0.1um))
  S0.subtract(R4Pad2TrenchPeriphery0)
  R4Pad2TrenchPeriphery1.sweep_along_vector((0mm, 0mm, 0.1um))
  S0.subtract(R4Pad2TrenchPeriphery1)
  R4Pad2periphery0 = polyline(z=500um, xy in um: (1425.064, 519.23555) (1335.064, 519.16388) (1334.9366, 679.16383) (1424.9366, 679.2355) (1425.064, 519.23555), closed, covered)
  G0.subtract(R4Pad2periphery0)
  R4Pad2periphery1 = polyline(z=500um, xy in um: (1451.0091, 588.25623) (1389.0091, 588.20686) (1388.9916, 610.20686) (1450.9915, 610.25623) (1451.0091, 588.25623), closed, covered)
  G0.subtract(R4Pad2periphery1)
  R5Pad1 [perfect conductor] = polyline(z=500um, xy in um: (3374.8404, -399.2117) (3384.8404, -399.20374) (3385.1589, -799.20361) (3375.159, -799.21157) (3375.0037, -604.21163) (3325.0037, -604.25145) (3324.9957, -594.25145) (3374.9957, -594.21164) (3374.8404, -399.2117), closed, covered)
  R5Pad1TrenchComponent = polyline(z=499.9um, xy in um: (3374.8404, -399.2117) (3384.8404, -399.20374) (3385.1589, -799.20361) (3375.159, -799.21157) (3375.0037, -604.21163) (3325.0037, -604.25145) (3324.9957, -594.25145) (3374.9957, -594.21164) (3374.8404, -399.2117), closed, covered)
  R5Pad1TrenchPeriphery0 = polyline(z=499.9um, xy in um: (3368.8213, -375.21649) (3390.8213, -375.19897) (3391.1781, -823.19882) (3369.1781, -823.21634) (3368.8213, -375.21649), closed, covered)
  R5Pad1TrenchPeriphery1 = polyline(z=499.9um, xy in um: (3318.9909, -588.25623) (3380.9909, -588.20686) (3381.0084, -610.20686) (3319.0085, -610.25623) (3318.9909, -588.25623), closed, covered)
  R5Pad1TrenchPeriphery0.sweep_along_vector((0mm, 0mm, 0.1um))
  S0.subtract(R5Pad1TrenchPeriphery0)
  R5Pad1TrenchPeriphery1.sweep_along_vector((0mm, 0mm, 0.1um))
  S0.subtract(R5Pad1TrenchPeriphery1)
  R5Pad1periphery0 = polyline(z=500um, xy in um: (3368.8213, -375.21649) (3390.8213, -375.19897) (3391.1781, -823.19882) (3369.1781, -823.21634) (3368.8213, -375.21649), closed, covered)
  G0.subtract(R5Pad1periphery0)
  R5Pad1periphery1 = polyline(z=500um, xy in um: (3318.9909, -588.25623) (3380.9909, -588.20686) (3381.0084, -610.20686) (3319.0085, -610.25623) (3318.9909, -588.25623), closed, covered)
  G0.subtract(R5Pad1periphery1)
  R5Pad2 [perfect conductor] = polyline(z=500um, xy in um: (1395.0401, -650.78835) (1365.0401, -650.81224) (1364.9605, -550.81227) (1394.9605, -550.78838) (1394.9963, -595.78837) (1444.9963, -595.74855) (1445.0043, -605.74855) (1395.0043, -605.78836) (1395.0401, -650.78835), closed, covered)
  R5Pad2TrenchComponent = polyline(z=499.9um, xy in um: (1395.0401, -650.78835) (1365.0401, -650.81224) (1364.9605, -550.81227) (1394.9605, -550.78838) (1394.9963, -595.78837) (1444.9963, -595.74855) (1445.0043, -605.74855) (1395.0043, -605.78836) (1395.0401, -650.78835), closed, covered)
  R5Pad2TrenchPeriphery0 = polyline(z=499.9um, xy in um: (1425.064, -680.76445) (1335.064, -680.83612) (1334.9366, -520.83617) (1424.9366, -520.7645) (1425.064, -680.76445), closed, covered)
  R5Pad2TrenchPeriphery1 = polyline(z=499.9um, xy in um: (1451.0091, -611.74377) (1389.0091, -611.79314) (1388.9916, -589.79314) (1450.9915, -589.74377) (1451.0091, -611.74377), closed, covered)
  R5Pad2TrenchPeriphery0.sweep_along_vector((0mm, 0mm, 0.1um))
  S0.subtract(R5Pad2TrenchPeriphery0)
  R5Pad2TrenchPeriphery1.sweep_along_vector((0mm, 0mm, 0.1um))
  S0.subtract(R5Pad2TrenchPeriphery1)
  R5Pad2periphery0 = polyline(z=500um, xy in um: (1425.064, -680.76445) (1335.064, -680.83612) (1334.9366, -520.83617) (1424.9366, -520.7645) (1425.064, -680.76445), closed, covered)
  G0.subtract(R5Pad2periphery0)
  R5Pad2periphery1 = polyline(z=500um, xy in um: (1451.0091, -611.74377) (1389.0091, -611.79314) (1388.9916, -589.79314) (1450.9915, -589.74377) (1451.0091, -611.74377), closed, covered)
  G0.subtract(R5Pad2periphery1)
  R6Pad1 [perfect conductor] = polyline(z=500um, xy in um: (1398.6221, -3940.3174) (1398.6062, -3950.3174) (998.60668, -3949.6804) (998.62261, -3939.6804) (1193.6224, -3939.9909) (1193.702, -3889.991) (1203.702, -3890.0069) (1203.6223, -3940.0069) (1398.6221, -3940.3174), closed, covered)
  R6Pad1TrenchComponent = polyline(z=499.9um, xy in um: (1398.6221, -3940.3174) (1398.6062, -3950.3174) (998.60668, -3949.6804) (998.62261, -3939.6804) (1193.6224, -3939.9909) (1193.702, -3889.991) (1203.702, -3890.0069) (1203.6223, -3940.0069) (1398.6221, -3940.3174), closed, covered)
  R6Pad1TrenchPeriphery0 = polyline(z=499.9um, xy in um: (1422.6316, -3934.3557) (1422.5966, -3956.3556) (974.59716, -3955.6421) (974.6322, -3933.6422) (1422.6316, -3934.3557), closed, covered)
  R6Pad1TrenchPeriphery1 = polyline(z=499.9um, xy in um: (1209.7115, -3884.0165) (1209.6128, -3946.0164) (1187.6128, -3945.9814) (1187.7116, -3883.9815) (1209.7115, -3884.0165), closed, covered)
  R6Pad1TrenchPeriphery0.sweep_along_vector((0mm, 0mm, 0.1um))
  S0.subtract(R6Pad1TrenchPeriphery0)
  R6Pad1TrenchPeriphery1.sweep_along_vector((0mm, 0mm, 0.1um))
  S0.subtract(R6Pad1TrenchPeriphery1)
  R6Pad1periphery0 = polyline(z=500um, xy in um: (1422.6316, -3934.3557) (1422.5966, -3956.3556) (974.59716, -3955.6421) (974.6322, -3933.6422) (1422.6316, -3934.3557), closed, covered)
  G0.subtract(R6Pad1periphery0)
  R6Pad1periphery1 = polyline(z=500um, xy in um: (1209.7115, -3884.0165) (1209.6128, -3946.0164) (1187.6128, -3945.9814) (1187.7116, -3883.9815) (1209.7115, -3884.0165), closed, covered)
  G0.subtract(R6Pad1periphery1)
  R6Pad2 [perfect conductor] = polyline(z=500um, xy in um: (1151.3777, -2209.9215) (1151.4255, -2179.9215) (1251.4254, -2180.0808) (1251.3776, -2210.0807) (1206.3776, -2210.0091) (1206.298, -2260.009) (1196.298, -2259.9931) (1196.3777, -2209.9931) (1151.3777, -2209.9215), closed, covered)
  R6Pad2TrenchComponent = polyline(z=499.9um, xy in um: (1151.3777, -2209.9215) (1151.4255, -2179.9215) (1251.4254, -2180.0808) (1251.3776, -2210.0807) (1206.3776, -2210.0091) (1206.298, -2260.009) (1196.298, -2259.9931) (1196.3777, -2209.9931) (1151.3777, -2209.9215), closed, covered)
  R6Pad2TrenchPeriphery0 = polyline(z=499.9um, xy in um: (1121.33, -2239.8736) (1121.4733, -2149.8738) (1281.4731, -2150.1286) (1281.3298, -2240.1285) (1121.33, -2239.8736), closed, covered)
  R6Pad2TrenchPeriphery1 = polyline(z=499.9um, xy in um: (1190.2885, -2265.9835) (1190.3872, -2203.9836) (1212.3872, -2204.0186) (1212.2884, -2266.0185) (1190.2885, -2265.9835), closed, covered)
  R6Pad2TrenchPeriphery0.sweep_along_vector((0mm, 0mm, 0.1um))
  S0.subtract(R6Pad2TrenchPeriphery0)
  R6Pad2TrenchPeriphery1.sweep_along_vector((0mm, 0mm, 0.1um))
  S0.subtract(R6Pad2TrenchPeriphery1)
  R6Pad2periphery0 = polyline(z=500um, xy in um: (1121.33, -2239.8736) (1121.4733, -2149.8738) (1281.4731, -2150.1286) (1281.3298, -2240.1285) (1121.33, -2239.8736), closed, covered)
  G0.subtract(R6Pad2periphery0)
  R6Pad2periphery1 = polyline(z=500um, xy in um: (1190.2885, -2265.9835) (1190.3872, -2203.9836) (1212.3872, -2204.0186) (1212.2884, -2266.0185) (1190.2885, -2265.9835), closed, covered)
  G0.subtract(R6Pad2periphery1)
  R7Pad1 [perfect conductor] = polyline(z=500um, xy in um: (-1001.3779, -3940.3174) (-1001.3938, -3950.3174) (-1401.3933, -3949.6804) (-1401.3774, -3939.6804) (-1206.3776, -3939.9909) (-1206.298, -3889.991) (-1196.298, -3890.0069) (-1196.3777, -3940.0069) (-1001.3779, -3940.3174), closed, covered)
  R7Pad1TrenchComponent = polyline(z=499.9um, xy in um: (-1001.3779, -3940.3174) (-1001.3938, -3950.3174) (-1401.3933, -3949.6804) (-1401.3774, -3939.6804) (-1206.3776, -3939.9909) (-1206.298, -3889.991) (-1196.298, -3890.0069) (-1196.3777, -3940.0069) (-1001.3779, -3940.3174), closed, covered)
  R7Pad1TrenchPeriphery0 = polyline(z=499.9um, xy in um: (-977.36837, -3934.3557) (-977.40341, -3956.3556) (-1425.4028, -3955.6421) (-1425.3678, -3933.6422) (-977.36837, -3934.3557), closed, covered)
  R7Pad1TrenchPeriphery1 = polyline(z=499.9um, xy in um: (-1190.2885, -3884.0165) (-1190.3872, -3946.0164) (-1212.3872, -3945.9814) (-1212.2884, -3883.9815) (-1190.2885, -3884.0165), closed, covered)
  R7Pad1TrenchPeriphery0.sweep_along_vector((0mm, 0mm, 0.1um))
  S0.subtract(R7Pad1TrenchPeriphery0)
  R7Pad1TrenchPeriphery1.sweep_along_vector((0mm, 0mm, 0.1um))
  S0.subtract(R7Pad1TrenchPeriphery1)
  R7Pad1periphery0 = polyline(z=500um, xy in um: (-977.36837, -3934.3557) (-977.40341, -3956.3556) (-1425.4028, -3955.6421) (-1425.3678, -3933.6422) (-977.36837, -3934.3557), closed, covered)
  G0.subtract(R7Pad1periphery0)
  R7Pad1periphery1 = polyline(z=500um, xy in um: (-1190.2885, -3884.0165) (-1190.3872, -3946.0164) (-1212.3872, -3945.9814) (-1212.2884, -3883.9815) (-1190.2885, -3884.0165), closed, covered)
  G0.subtract(R7Pad1periphery1)
  R7Pad2 [perfect conductor] = polyline(z=500um, xy in um: (-1248.6223, -2209.9215) (-1248.5745, -2179.9215) (-1148.5746, -2180.0808) (-1148.6224, -2210.0807) (-1193.6224, -2210.0091) (-1193.702, -2260.009) (-1203.702, -2259.9931) (-1203.6223, -2209.9931) (-1248.6223, -2209.9215), closed, covered)
  R7Pad2TrenchComponent = polyline(z=499.9um, xy in um: (-1248.6223, -2209.9215) (-1248.5745, -2179.9215) (-1148.5746, -2180.0808) (-1148.6224, -2210.0807) (-1193.6224, -2210.0091) (-1193.702, -2260.009) (-1203.702, -2259.9931) (-1203.6223, -2209.9931) (-1248.6223, -2209.9215), closed, covered)
  R7Pad2TrenchPeriphery0 = polyline(z=499.9um, xy in um: (-1278.67, -2239.8736) (-1278.5267, -2149.8738) (-1118.5269, -2150.1286) (-1118.6702, -2240.1285) (-1278.67, -2239.8736), closed, covered)
  R7Pad2TrenchPeriphery1 = polyline(z=499.9um, xy in um: (-1209.7115, -2265.9835) (-1209.6128, -2203.9836) (-1187.6128, -2204.0186) (-1187.7116, -2266.0185) (-1209.7115, -2265.9835), closed, covered)
  R7Pad2TrenchPeriphery0.sweep_along_vector((0mm, 0mm, 0.1um))
  S0.subtract(R7Pad2TrenchPeriphery0)
  R7Pad2TrenchPeriphery1.sweep_along_vector((0mm, 0mm, 0.1um))
  S0.subtract(R7Pad2TrenchPeriphery1)
  R7Pad2periphery0 = polyline(z=500um, xy in um: (-1278.67, -2239.8736) (-1278.5267, -2149.8738) (-1118.5269, -2150.1286) (-1118.6702, -2240.1285) (-1278.67, -2239.8736), closed, covered)
  G0.subtract(R7Pad2periphery0)
  R7Pad2periphery1 = polyline(z=500um, xy in um: (-1209.7115, -2265.9835) (-1209.6128, -2203.9836) (-1187.6128, -2204.0186) (-1187.7116, -2266.0185) (-1209.7115, -2265.9835), closed, covered)
  G0.subtract(R7Pad2periphery1)
  Q0Pad1TrenchComponent.sweep_along_vector((0mm, 0mm, 0.1um))
  S0.unite(Q0Pad1TrenchComponent)
  Q0Pad2TrenchComponent.sweep_along_vector((0mm, 0mm, 0.1um))
  S0.unite(Q0Pad2TrenchComponent)
  Q1Pad1TrenchComponent.sweep_along_vector((0mm, 0mm, 0.1um))
  S0.unite(Q1Pad1TrenchComponent)
  Q1Pad2TrenchComponent.sweep_along_vector((0mm, 0mm, 0.1um))
  S0.unite(Q1Pad2TrenchComponent)
  Q2Pad1TrenchComponent.sweep_along_vector((0mm, 0mm, 0.1um))
  S0.unite(Q2Pad1TrenchComponent)
  Q2Pad2TrenchComponent.sweep_along_vector((0mm, 0mm, 0.1um))
  S0.unite(Q2Pad2TrenchComponent)
  Q3Pad1TrenchComponent.sweep_along_vector((0mm, 0mm, 0.1um))
  S0.unite(Q3Pad1TrenchComponent)
  Q3Pad2TrenchComponent.sweep_along_vector((0mm, 0mm, 0.1um))
  S0.unite(Q3Pad2TrenchComponent)
  Q4Pad1TrenchComponent.sweep_along_vector((0mm, 0mm, 0.1um))
  S0.unite(Q4Pad1TrenchComponent)
  Q4Pad2TrenchComponent.sweep_along_vector((0mm, 0mm, 0.1um))
  S0.unite(Q4Pad2TrenchComponent)
  Q5Pad1TrenchComponent.sweep_along_vector((0mm, 0mm, 0.1um))
  S0.unite(Q5Pad1TrenchComponent)
  Q5Pad2TrenchComponent.sweep_along_vector((0mm, 0mm, 0.1um))
  S0.unite(Q5Pad2TrenchComponent)
  Q6Pad1TrenchComponent.sweep_along_vector((0mm, 0mm, 0.1um))
  S0.unite(Q6Pad1TrenchComponent)
  Q6Pad2TrenchComponent.sweep_along_vector((0mm, 0mm, 0.1um))
  S0.unite(Q6Pad2TrenchComponent)
  Q7Pad1TrenchComponent.sweep_along_vector((0mm, 0mm, 0.1um))
  S0.unite(Q7Pad1TrenchComponent)
  Q7Pad2TrenchComponent.sweep_along_vector((0mm, 0mm, 0.1um))
  S0.unite(Q7Pad2TrenchComponent)
  R0Pad1TrenchComponent.sweep_along_vector((0mm, 0mm, 0.1um))
  S0.unite(R0Pad1TrenchComponent)
  R0Pad2TrenchComponent.sweep_along_vector((0mm, 0mm, 0.1um))
  S0.unite(R0Pad2TrenchComponent)
  R1Pad1TrenchComponent.sweep_along_vector((0mm, 0mm, 0.1um))
  S0.unite(R1Pad1TrenchComponent)
  R1Pad2TrenchComponent.sweep_along_vector((0mm, 0mm, 0.1um))
  S0.unite(R1Pad2TrenchComponent)
  R2Pad1TrenchComponent.sweep_along_vector((0mm, 0mm, 0.1um))
  S0.unite(R2Pad1TrenchComponent)
  R2Pad2TrenchComponent.sweep_along_vector((0mm, 0mm, 0.1um))
  S0.unite(R2Pad2TrenchComponent)
  R3Pad1TrenchComponent.sweep_along_vector((0mm, 0mm, 0.1um))
  S0.unite(R3Pad1TrenchComponent)
  R3Pad2TrenchComponent.sweep_along_vector((0mm, 0mm, 0.1um))
  S0.unite(R3Pad2TrenchComponent)
  R4Pad1TrenchComponent.sweep_along_vector((0mm, 0mm, 0.1um))
  S0.unite(R4Pad1TrenchComponent)
  R4Pad2TrenchComponent.sweep_along_vector((0mm, 0mm, 0.1um))
  S0.unite(R4Pad2TrenchComponent)
  R5Pad1TrenchComponent.sweep_along_vector((0mm, 0mm, 0.1um))
  S0.unite(R5Pad1TrenchComponent)
  R5Pad2TrenchComponent.sweep_along_vector((0mm, 0mm, 0.1um))
  S0.unite(R5Pad2TrenchComponent)
  R6Pad1TrenchComponent.sweep_along_vector((0mm, 0mm, 0.1um))
  S0.unite(R6Pad1TrenchComponent)
  R6Pad2TrenchComponent.sweep_along_vector((0mm, 0mm, 0.1um))
  S0.unite(R6Pad2TrenchComponent)
  R7Pad1TrenchComponent.sweep_along_vector((0mm, 0mm, 0.1um))
  S0.unite(R7Pad1TrenchComponent)
  R7Pad2TrenchComponent.sweep_along_vector((0mm, 0mm, 0.1um))
  S0.unite(R7Pad2TrenchComponent)
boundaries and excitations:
  ThinCondQ0Pad1: ThinConductor Objects=Q0Pad1 Material="perfect conductor" Thickness=0.1um
  ThinCondQ0Pad2: ThinConductor Objects=Q0Pad2 Material="perfect conductor" Thickness=0.1um
  ThinCondQ1Pad1: ThinConductor Objects=Q1Pad1 Material="perfect conductor" Thickness=0.1um
  ThinCondQ1Pad2: ThinConductor Objects=Q1Pad2 Material="perfect conductor" Thickness=0.1um
  ThinCondQ2Pad1: ThinConductor Objects=Q2Pad1 Material="perfect conductor" Thickness=0.1um
  ThinCondQ2Pad2: ThinConductor Objects=Q2Pad2 Material="perfect conductor" Thickness=0.1um
  ThinCondQ3Pad1: ThinConductor Objects=Q3Pad1 Material="perfect conductor" Thickness=0.1um
  ThinCondQ3Pad2: ThinConductor Objects=Q3Pad2 Material="perfect conductor" Thickness=0.1um
  ThinCondQ4Pad1: ThinConductor Objects=Q4Pad1 Material="perfect conductor" Thickness=0.1um
  ThinCondQ4Pad2: ThinConductor Objects=Q4Pad2 Material="perfect conductor" Thickness=0.1um
  ThinCondQ5Pad1: ThinConductor Objects=Q5Pad1 Material="perfect conductor" Thickness=0.1um
  ThinCondQ5Pad2: ThinConductor Objects=Q5Pad2 Material="perfect conductor" Thickness=0.1um
  ThinCondQ6Pad1: ThinConductor Objects=Q6Pad1 Material="perfect conductor" Thickness=0.1um
  ThinCondQ6Pad2: ThinConductor Objects=Q6Pad2 Material="perfect conductor" Thickness=0.1um
  ThinCondQ7Pad1: ThinConductor Objects=Q7Pad1 Material="perfect conductor" Thickness=0.1um
  ThinCondQ7Pad2: ThinConductor Objects=Q7Pad2 Material="perfect conductor" Thickness=0.1um
  ThinCondR0Pad1: ThinConductor Objects=R0Pad1 Material="perfect conductor" Thickness=0.1um
  ThinCondR0Pad2: ThinConductor Objects=R0Pad2 Material="perfect conductor" Thickness=0.1um
  ThinCondR1Pad1: ThinConductor Objects=R1Pad1 Material="perfect conductor" Thickness=0.1um
  ThinCondR1Pad2: ThinConductor Objects=R1Pad2 Material="perfect conductor" Thickness=0.1um
  ThinCondR2Pad1: ThinConductor Objects=R2Pad1 Material="perfect conductor" Thickness=0.1um
  ThinCondR2Pad2: ThinConductor Objects=R2Pad2 Material="perfect conductor" Thickness=0.1um
  ThinCondR3Pad1: ThinConductor Objects=R3Pad1 Material="perfect conductor" Thickness=0.1um
  ThinCondR3Pad2: ThinConductor Objects=R3Pad2 Material="perfect conductor" Thickness=0.1um
  ThinCondR4Pad1: ThinConductor Objects=R4Pad1 Material="perfect conductor" Thickness=0.1um
  ThinCondR4Pad2: ThinConductor Objects=R4Pad2 Material="perfect conductor" Thickness=0.1um
  ThinCondR5Pad1: ThinConductor Objects=R5Pad1 Material="perfect conductor" Thickness=0.1um
  ThinCondR5Pad2: ThinConductor Objects=R5Pad2 Material="perfect conductor" Thickness=0.1um
  ThinCondR6Pad1: ThinConductor Objects=R6Pad1 Material="perfect conductor" Thickness=0.1um
  ThinCondR6Pad2: ThinConductor Objects=R6Pad2 Material="perfect conductor" Thickness=0.1um
  ThinCondR7Pad1: ThinConductor Objects=R7Pad1 Material="perfect conductor" Thickness=0.1um
  ThinCondR7Pad2: ThinConductor Objects=R7Pad2 Material="perfect conductor" Thickness=0.1um
  ThinCondG0: ThinConductor Objects=G0 Material="perfect conductor" Thickness=0.1um
  Q0Pad1: SignalNet Objects=Q0Pad1
  Q0Pad2: SignalNet Objects=Q0Pad2
  Q1Pad1: SignalNet Objects=Q1Pad1
  Q1Pad2: SignalNet Objects=Q1Pad2
  Q2Pad1: SignalNet Objects=Q2Pad1
  Q2Pad2: SignalNet Objects=Q2Pad2
  Q3Pad1: SignalNet Objects=Q3Pad1
  Q3Pad2: SignalNet Objects=Q3Pad2
  Q4Pad1: SignalNet Objects=Q4Pad1
  Q4Pad2: SignalNet Objects=Q4Pad2
  Q5Pad1: SignalNet Objects=Q5Pad1
  Q5Pad2: SignalNet Objects=Q5Pad2
  Q6Pad1: SignalNet Objects=Q6Pad1
  Q6Pad2: SignalNet Objects=Q6Pad2
  Q7Pad1: SignalNet Objects=Q7Pad1
  Q7Pad2: SignalNet Objects=Q7Pad2
  R0Pad1: SignalNet Objects=R0Pad1
  R0Pad2: SignalNet Objects=R0Pad2
  R1Pad1: SignalNet Objects=R1Pad1
  R1Pad2: SignalNet Objects=R1Pad2
  R2Pad1: SignalNet Objects=R2Pad1
  R2Pad2: SignalNet Objects=R2Pad2
  R3Pad1: SignalNet Objects=R3Pad1
  R3Pad2: SignalNet Objects=R3Pad2
  R4Pad1: SignalNet Objects=R4Pad1
  R4Pad2: SignalNet Objects=R4Pad2
  R5Pad1: SignalNet Objects=R5Pad1
  R5Pad2: SignalNet Objects=R5Pad2
  R6Pad1: SignalNet Objects=R6Pad1
  R6Pad2: SignalNet Objects=R6Pad2
  R7Pad1: SignalNet Objects=R7Pad1
  R7Pad2: SignalNet Objects=R7Pad2
  GroundNet1: GroundNet Objects=G0
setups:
  capSim: Matrix AdaptiveFreq=5GHz Cap{MaxPass=99 MinPass=1 MinConvPass=1 PerError=1 PerRefine=100 AutoIncreaseSolutionOrder SolutionOrder=High Solver_Type=Iterative} ErrorValue=0.1
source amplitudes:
  Q0Pad1: Cap 1V 0deg
  Q0Pad2, Q1Pad1, Q1Pad2, Q2Pad1, Q2Pad2, Q3Pad1, Q3Pad2, Q4Pad1, Q4Pad2, Q5Pad1, Q5Pad2, Q6Pad1, Q6Pad2, Q7Pad1, Q7Pad2, R0Pad1, R0Pad2, R1Pad1, R1Pad2, R2Pad1, R2Pad2, R3Pad1, R3Pad2, R4Pad1, R4Pad2, R5Pad1, R5Pad2, R6Pad1, R6Pad2, R7Pad1, R7Pad2: Cap 0V 0deg
